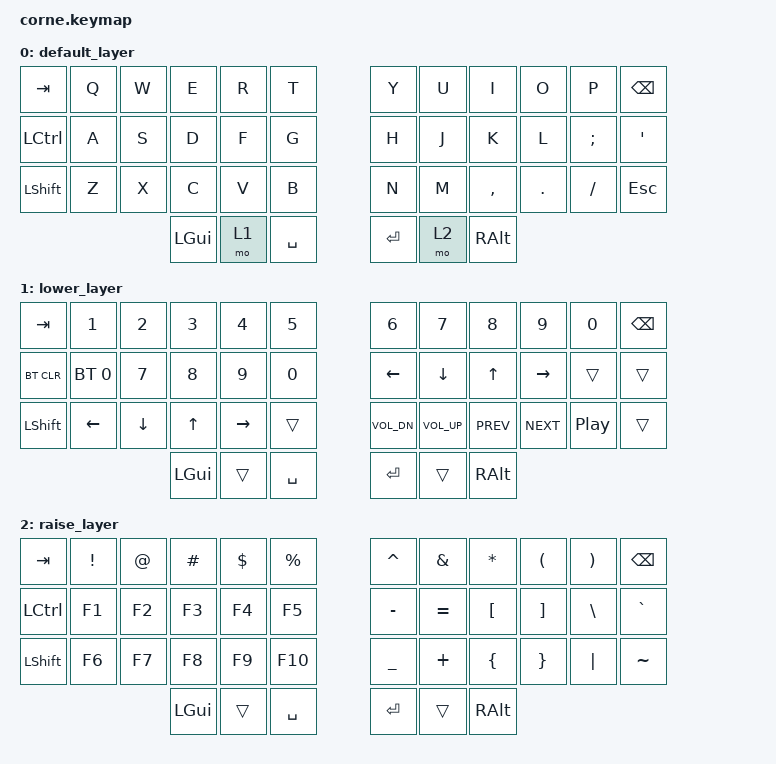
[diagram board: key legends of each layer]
/*
 * Copyright (c) 2020 The ZMK Contributors
 *
 * SPDX-License-Identifier: MIT
 */

#include <behaviors.dtsi>
#include <dt-bindings/zmk/keys.h>
#include <dt-bindings/zmk/bt.h>

/ {
    keymap {
        compatible = "zmk,keymap";

        default_layer {
            bindings = <
&kp TAB    &kp Q  &kp W  &kp E     &kp R  &kp T        &kp Y    &kp U  &kp I      &kp O    &kp P     &kp BSPC
&kp LCTRL  &kp A  &kp S  &kp D     &kp F  &kp G        &kp H    &kp J  &kp K      &kp L    &kp SEMI  &kp SQT
&kp LSHFT  &kp Z  &kp X  &kp C     &kp V  &kp B        &kp N    &kp M  &kp COMMA  &kp DOT  &kp FSLH  &kp ESC
                         &kp LGUI  &mo 1  &kp SPACE    &kp RET  &mo 2  &kp RALT
            >;
        };

        lower_layer {
            bindings = <
&kp TAB      &kp N1       &kp N2       &kp N3        &kp N4     &kp N5       &kp N6        &kp N7        &kp N8      &kp N9      &kp N0            &kp BSPC
&bt BT_CLR   &bt BT_SEL 0 &kp N7       &kp NUMBER_8  &kp N9     &kp N0       &kp LEFT      &kp DOWN      &kp UP      &kp RIGHT   &trans            &trans
&kp LSHFT    &kp LEFT     &kp DOWN     &kp UP_ARROW  &kp RIGHT  &trans       &kp C_VOL_DN  &kp C_VOL_UP  &kp C_PREV  &kp C_NEXT  &kp C_PLAY_PAUSE  &trans
                                       &kp LGUI      &trans     &kp SPACE    &kp RET       &trans        &kp RALT
            >;
        };

        raise_layer {
            bindings = <
&kp TAB    &kp EXCL  &kp AT  &kp HASH  &kp DLLR  &kp PRCNT    &kp CARET  &kp AMPS   &kp ASTRK  &kp LPAR  &kp RPAR  &kp BSPC
&kp LCTRL  &kp F1    &kp F2  &kp F3    &kp F4    &kp F5       &kp MINUS  &kp EQUAL  &kp LBKT   &kp RBKT  &kp BSLH  &kp GRAVE
&kp LSHFT  &kp F6    &kp F7  &kp F8    &kp F9    &kp F10      &kp UNDER  &kp PLUS   &kp LBRC   &kp RBRC  &kp PIPE  &kp TILDE
                             &kp LGUI  &trans    &kp SPACE    &kp RET    &trans     &kp RALT
            >;
        };
    };
};
